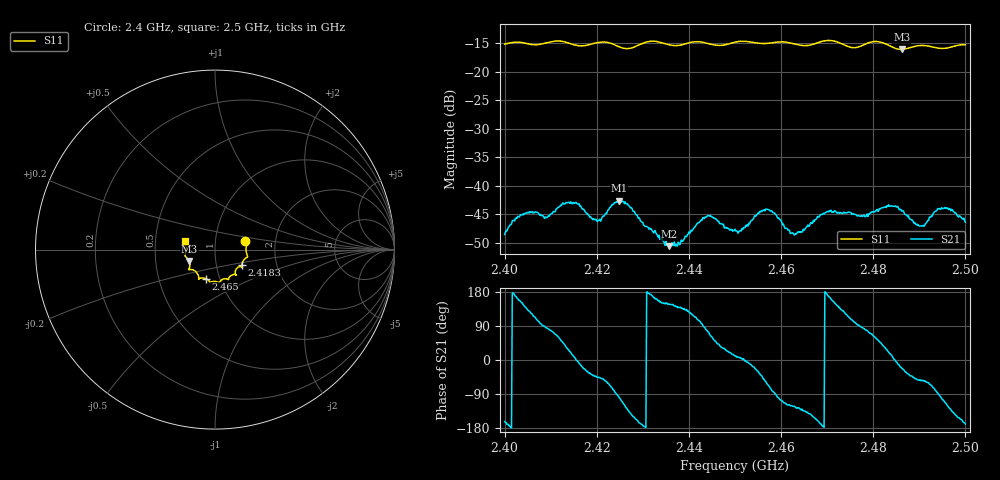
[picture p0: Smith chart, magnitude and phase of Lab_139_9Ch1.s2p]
# Hz S RI R 50
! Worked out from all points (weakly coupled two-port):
!   601 points, 2.4 GHz to 2.5 GHz, reference 50 ohm
!   highest |S21| = -42.66 dB at 2.4248 GHz (marker M1); lowest = -50.6 dB at 2.4357 GHz (marker M2)
!   lowest |S11| = -16.1 dB at 2.4862 GHz (marker M3), VSWR 1.37, Z = 37.2 - j4.82 ohm
!   |S11| at or under -10 dB: start of sweep to end of sweep
!   S12 and S22 are empty: the file has one direction only
!   S11 on the Smith chart (normalised r, x): 2.4 GHz: 1.40, +0.14; 2.4183 GHz: 1.33, -0.24; 2.465 GHz: 0.86, -0.29; 2.5 GHz: 0.71, +0.07
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2.4e9  0.1687 0.0469  -0.00356 -0.00111  0 0  0 0
2.4045e9  0.1767 0.0236  -0.00437 0.00372  0 0  0 0
2.413833e9  0.1735 -0.0458  0.00632 0.00337  0 0  0 0
2.416667e9  0.1545 -0.0683  0.00619 -0.0017  0 0  0 0
2.418333e9  0.1499 -0.0868  0.00449 -0.00311  0 0  0 0
2.4205e9  0.152 -0.0993  0.00346 -0.00362  0 0  0 0
2.424833e9  0.1359 -0.0952  -0.00106 -0.00729  0 0  0 0
2.433333e9  0.1175 -0.1409  -0.00323 0.00144  0 0  0 0
2.435667e9  0.1032 -0.1388  -0.00249 0.00157  0 0  0 0
2.444167e9  0.0675 -0.1637  0.00153 0.00526  0 0  0 0
2.45e9  0.0263 -0.1803  0.00408 0.00079  0 0  0 0
2.456833e9  -0.00795 -0.1774  0.00305 -0.00542  0 0  0 0
2.4625e9  -0.0332 -0.1745  -0.00202 -0.00329  0 0  0 0
2.465e9  -0.0525 -0.1616  -0.00285 -0.00288  0 0  0 0
2.466667e9  -0.0715 -0.1578  -0.00388 -0.00261  0 0  0 0
2.470333e9  -0.0912 -0.1651  -0.00575 0.00124  0 0  0 0
2.477833e9  -0.131 -0.1114  0.00059 0.00543  0 0  0 0
2.483333e9  -0.1413 -0.0968  0.00636 0.00241  0 0  0 0
2.486167e9  -0.1439 -0.0632  0.00558 -0.00215  0 0  0 0
2.490333e9  -0.1666 -0.0363  0.00257 -0.00364  0 0  0 0
2.495333e9  -0.1604 0.00751  -0.0019 -0.00601  0 0  0 0
2.5e9  -0.1667 0.0466  -0.00469 -0.000913  0 0  0 0
